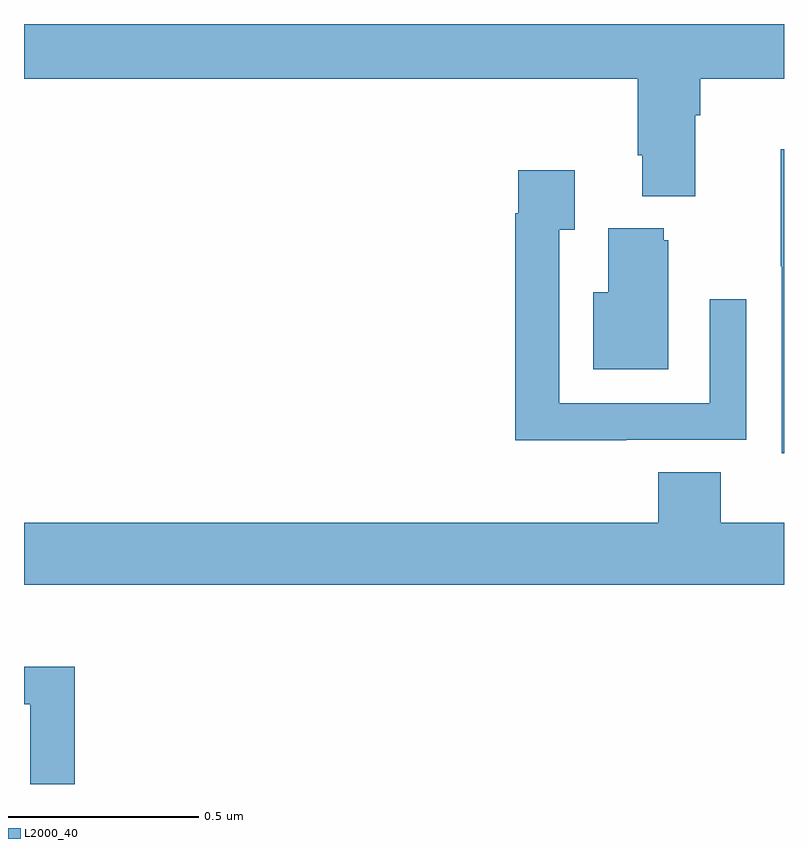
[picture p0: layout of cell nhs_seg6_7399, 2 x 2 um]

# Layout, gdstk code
import gdstk
lib = gdstk.Library(unit=1e-6, precision=1e-09)
def P(c, l, *ps):  # polygons
    for p in ps: c.add(gdstk.Polygon(p, *l))
L2000_40 = (2000, 40)

nhs_seg6_7399 = lib.new_cell('nhs_seg6_7399')
P(nhs_seg6_7399, L2000_40, [(209.767,927.26),(209.78,927.26),(209.78,927.356),(210,927.356),(210,927.5),(208,927.5),(208,927.356),(209.615,927.356),(209.615,927.154),(209.627,927.154),(209.627,927.047),(209.767,927.047)],
  [(210,927.17),(209.992,927.17),(209.992,926.863),(209.994,926.863),(209.994,926.37),(210,926.37)],
  [(209.585,926.406),(209.901,926.406),(209.901,926.776),(209.805,926.776),(209.805,926.502),(209.409,926.502),(209.409,926.959),(209.449,926.959),(209.449,927.115),(209.301,927.115),(209.301,927.002),(209.293,927.002),(209.293,926.405),(209.585,926.405)],
  [(209.695,926.931),(209.684,926.931),(209.684,926.962),(209.537,926.962),(209.537,926.794),(209.498,926.794),(209.498,926.591),(209.695,926.591)],
  [(210,926.188),(209.834,926.188),(209.834,926.321),(209.669,926.321),(209.669,926.188),(208,926.188),(208,926.024),(210,926.024)],
  [(208.133,925.808),(208,925.808),(208,925.71),(208.017,925.71),(208.017,925.5),(208.133,925.5)])

lib.write_gds('nhs_seg6_7399.gds')
